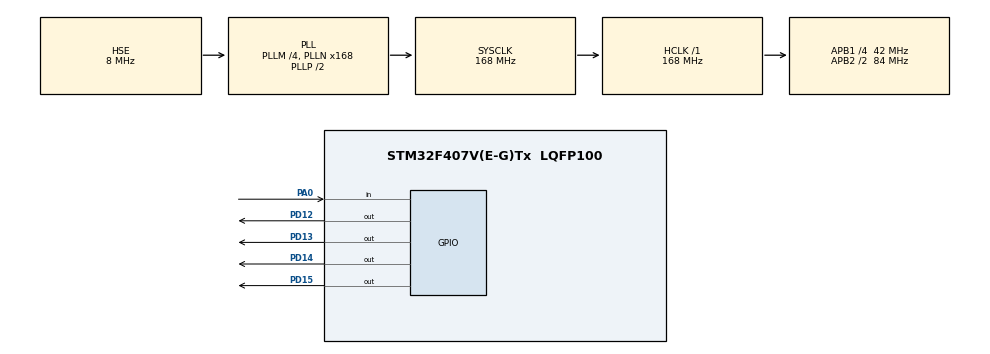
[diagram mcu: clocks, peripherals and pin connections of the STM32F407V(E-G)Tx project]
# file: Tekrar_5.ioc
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Mcu.Family=STM32F4
Mcu.Name=STM32F407V(E-G)Tx
Mcu.Package=LQFP100
NVIC.PriorityGroup=NVIC_PRIORITYGROUP_4
PA0-WKUP.GPIO_PuPd=GPIO_PULLDOWN
PA0-WKUP.Signal=GPIO_Input
PD12.GPIO_Speed=GPIO_SPEED_FREQ_VERY_HIGH
PD12.Signal=GPIO_Output
PD13.GPIO_Speed=GPIO_SPEED_FREQ_VERY_HIGH
PD13.Signal=GPIO_Output
PD14.GPIO_Speed=GPIO_SPEED_FREQ_VERY_HIGH
PD14.Signal=GPIO_Output
PD15.GPIO_Speed=GPIO_SPEED_FREQ_VERY_HIGH
PD15.Signal=GPIO_Output
PH0-OSC_IN.Mode=HSE-External-Clock-Source
PH0-OSC_IN.Signal=RCC_OSC_IN
PH1-OSC_OUT.Mode=HSE-External-Clock-Source
PH1-OSC_OUT.Signal=RCC_OSC_OUT
ProjectManager.HeapSize=0x200
ProjectManager.StackSize=0x400
ProjectManager.TargetToolchain=STM32CubeIDE
RCC.48MHZClocksFreq_Value=84000000
RCC.AHBFreq_Value=168000000
RCC.APB1CLKDivider=RCC_HCLK_DIV4
RCC.APB1Freq_Value=42000000
RCC.APB1TimFreq_Value=84000000
RCC.APB2CLKDivider=RCC_HCLK_DIV2
RCC.APB2Freq_Value=84000000
RCC.APB2TimFreq_Value=168000000
RCC.CortexFreq_Value=168000000
RCC.HCLKFreq_Value=168000000
RCC.HSE_VALUE=8000000
RCC.HSI_VALUE=16000000
RCC.LSE_VALUE=32768
RCC.PLLM=4
RCC.PLLN=168
RCC.PLLSourceVirtual=RCC_PLLSOURCE_HSE
RCC.SYSCLKFreq_VALUE=168000000
RCC.SYSCLKSource=RCC_SYSCLKSOURCE_PLLCLK
RCC.VCOOutputFreq_Value=336000000
board=custom

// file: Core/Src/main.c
/* USER CODE BEGIN Header */
/**
  ******************************************************************************
  * @file           : main.c
  * @brief          : Main program body
  ******************************************************************************
  * @attention
  *
  * Copyright (c) 2023 STMicroelectronics.
  * All rights reserved.
  *
  * This software is licensed under terms that can be found in the LICENSE file
  * in the root directory of this software component.
  * If no LICENSE file comes with this software, it is provided AS-IS.
  *
  ******************************************************************************
  */
/* USER CODE END Header */
#include "main.h"

/* USER CODE BEGIN PV */

int count=0;
int DELAY=1000;
/* USER CODE END PV */

void SystemClock_Config(void);
static void MX_GPIO_Init(void);

int main(void)
{

  /* MCU Configuration--------------------------------------------------------*/

  /* Reset of all peripherals, Initializes the Flash interface and the Systick. */
  HAL_Init();

  /* Configure the system clock */
  SystemClock_Config();

  /* Initialize all configured peripherals */
  MX_GPIO_Init();

  /* Infinite loop */
  while (1)
  {

    /* USER CODE BEGIN 3 */

//butona basınca ledleri 12-13-14-15-14-13-12 seklinde yaktım, ledlerin yanma hızını, butona basarak değistirmeyi dene
//hız degistirmem icin butona basılı tutmam gerekiyor?? normal basışta etki etmiyor

	if(HAL_GPIO_ReadPin(GPIOA, GPIO_PIN_0))
		{
count++;

while(count)
{
	{
			  HAL_GPIO_WritePin(GPIOD, GPIO_PIN_13, GPIO_PIN_RESET);
			  HAL_GPIO_WritePin(GPIOD, GPIO_PIN_12, GPIO_PIN_SET);
			  HAL_Delay(DELAY);

			HAL_GPIO_WritePin(GPIOD, GPIO_PIN_12, GPIO_PIN_RESET);
			HAL_GPIO_WritePin(GPIOD, GPIO_PIN_13, GPIO_PIN_SET);
			HAL_Delay(DELAY);

			  HAL_GPIO_WritePin(GPIOD, GPIO_PIN_13, GPIO_PIN_RESET);
			  HAL_GPIO_WritePin(GPIOD, GPIO_PIN_14, GPIO_PIN_SET);
			  HAL_Delay(DELAY);

			  HAL_GPIO_WritePin(GPIOD, GPIO_PIN_14, GPIO_PIN_RESET);
			  HAL_GPIO_WritePin(GPIOD, GPIO_PIN_15, GPIO_PIN_SET);
				HAL_Delay(DELAY);

			  HAL_GPIO_WritePin(GPIOD, GPIO_PIN_15, GPIO_PIN_RESET);
			  HAL_GPIO_WritePin(GPIOD, GPIO_PIN_14, GPIO_PIN_SET);
				HAL_Delay(DELAY);

		  			 HAL_GPIO_WritePin(GPIOD, GPIO_PIN_14, GPIO_PIN_RESET);
		  			 HAL_GPIO_WritePin(GPIOD, GPIO_PIN_13, GPIO_PIN_SET);
		  			HAL_Delay(DELAY);
               count=0;
		}

if(HAL_GPIO_ReadPin(GPIOA, GPIO_PIN_0))

		  				{
	                       count++;
	  			            DELAY /= 2;
		  				}

else
{
	count=1;
}

}

     }

  }

  /* USER CODE END 3 */
}

void SystemClock_Config(void)
{
  RCC_OscInitTypeDef RCC_OscInitStruct = {0};
  RCC_ClkInitTypeDef RCC_ClkInitStruct = {0};

  /** Configure the main internal regulator output voltage
  */
  __HAL_RCC_PWR_CLK_ENABLE();
  __HAL_PWR_VOLTAGESCALING_CONFIG(PWR_REGULATOR_VOLTAGE_SCALE1);

  /** Initializes the RCC Oscillators according to the specified parameters
  * in the RCC_OscInitTypeDef structure.
  */
  RCC_OscInitStruct.OscillatorType = RCC_OSCILLATORTYPE_HSE;
  RCC_OscInitStruct.HSEState = RCC_HSE_BYPASS;
  RCC_OscInitStruct.PLL.PLLState = RCC_PLL_ON;
  RCC_OscInitStruct.PLL.PLLSource = RCC_PLLSOURCE_HSE;
  RCC_OscInitStruct.PLL.PLLM = 4;
  RCC_OscInitStruct.PLL.PLLN = 168;
  RCC_OscInitStruct.PLL.PLLP = RCC_PLLP_DIV2;
  RCC_OscInitStruct.PLL.PLLQ = 4;
  if (HAL_RCC_OscConfig(&RCC_OscInitStruct) != HAL_OK)
  {
    Error_Handler();
  }

  /** Initializes the CPU, AHB and APB buses clocks
  */
  RCC_ClkInitStruct.ClockType = RCC_CLOCKTYPE_HCLK|RCC_CLOCKTYPE_SYSCLK
                              |RCC_CLOCKTYPE_PCLK1|RCC_CLOCKTYPE_PCLK2;
  RCC_ClkInitStruct.SYSCLKSource = RCC_SYSCLKSOURCE_PLLCLK;
  RCC_ClkInitStruct.AHBCLKDivider = RCC_SYSCLK_DIV1;
  RCC_ClkInitStruct.APB1CLKDivider = RCC_HCLK_DIV4;
  RCC_ClkInitStruct.APB2CLKDivider = RCC_HCLK_DIV2;

  if (HAL_RCC_ClockConfig(&RCC_ClkInitStruct, FLASH_LATENCY_5) != HAL_OK)
  {
    Error_Handler();
  }
}

static void MX_GPIO_Init(void)
{
  GPIO_InitTypeDef GPIO_InitStruct = {0};

  /* GPIO Ports Clock Enable */
  __HAL_RCC_GPIOH_CLK_ENABLE();
  __HAL_RCC_GPIOA_CLK_ENABLE();
  __HAL_RCC_GPIOD_CLK_ENABLE();

  /*Configure GPIO pin Output Level */
  HAL_GPIO_WritePin(GPIOD, GPIO_PIN_12|GPIO_PIN_13|GPIO_PIN_14|GPIO_PIN_15, GPIO_PIN_RESET);

  /*Configure GPIO pin : PA0 */
  GPIO_InitStruct.Pin = GPIO_PIN_0;
  GPIO_InitStruct.Mode = GPIO_MODE_INPUT;
  GPIO_InitStruct.Pull = GPIO_PULLDOWN;
  HAL_GPIO_Init(GPIOA, &GPIO_InitStruct);

  /*Configure GPIO pins : PD12 PD13 PD14 PD15 */
  GPIO_InitStruct.Pin = GPIO_PIN_12|GPIO_PIN_13|GPIO_PIN_14|GPIO_PIN_15;
  GPIO_InitStruct.Mode = GPIO_MODE_OUTPUT_PP;
  GPIO_InitStruct.Pull = GPIO_NOPULL;
  GPIO_InitStruct.Speed = GPIO_SPEED_FREQ_VERY_HIGH;
  HAL_GPIO_Init(GPIOD, &GPIO_InitStruct);

}

void Error_Handler(void)
{
  __disable_irq();
  while (1)
  {
  }
}
